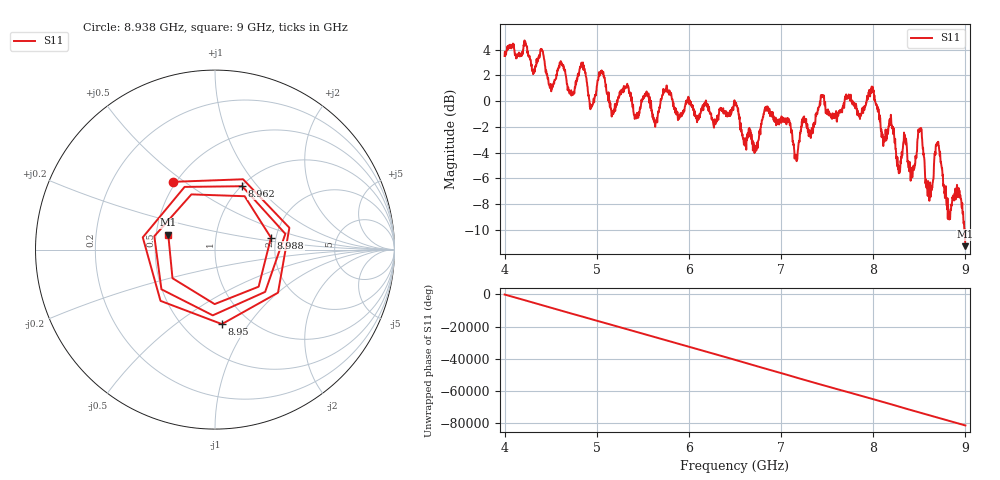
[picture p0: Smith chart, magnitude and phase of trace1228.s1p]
! Created with skrf 1.8.0 (http://scikit-rf.org).
# Hz S RI R 50.0
!freq ReS11 ImS11
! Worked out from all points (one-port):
!   1601 points, 4 GHz to 9 GHz, reference 50 ohm
!   lowest |S11| = -11.3 dB at 9 GHz (marker M1), VSWR 1.75, Z = 29 + j5.18 ohm
!   |S11| at or under -10 dB: 8.991538 GHz to end of sweep
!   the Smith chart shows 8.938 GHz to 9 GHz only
!   S11 on the Smith chart (normalised r, x): 8.938 GHz: 0.48, +0.46; 8.95 GHz: 0.75, -0.76; 8.962 GHz: 1.01, +0.84; 8.988 GHz: 1.88, +0.28; 9 GHz: 0.58, +0.10
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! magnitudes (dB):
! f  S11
! 4 GHz  3.5
! 4.503 GHz  0.9
! 4.625 GHz  2.9
! 4.725 GHz  0.4
! 4.853 GHz  2.6
! 4.941 GHz  -0.5
! 5.047 GHz  2.2
! 5.166 GHz  -0.9
! 5.25 GHz  0.7
! 5.875 GHz  -0.8
! 6.5 GHz  -0.2
! 6.709 GHz  -3.5
! 6.841 GHz  -0.4
! 7.125 GHz  -3.2
! 7.75 GHz  0.2
! 7.988 GHz  0.7
! 8.275 GHz  -5.4
! 8.375 GHz  -4.6
! 8.431 GHz  -5.1
! 8.506 GHz  -2.1
! 8.6 GHz  -6.9
! 8.7 GHz  -3.3
! 8.819 GHz  -8.7
! 8.938 GHz  -7.1
! 8.95 GHz  -7.6
! 8.962 GHz  -8.3
! 8.988 GHz  -9.9
! 9 GHz  -11.3
